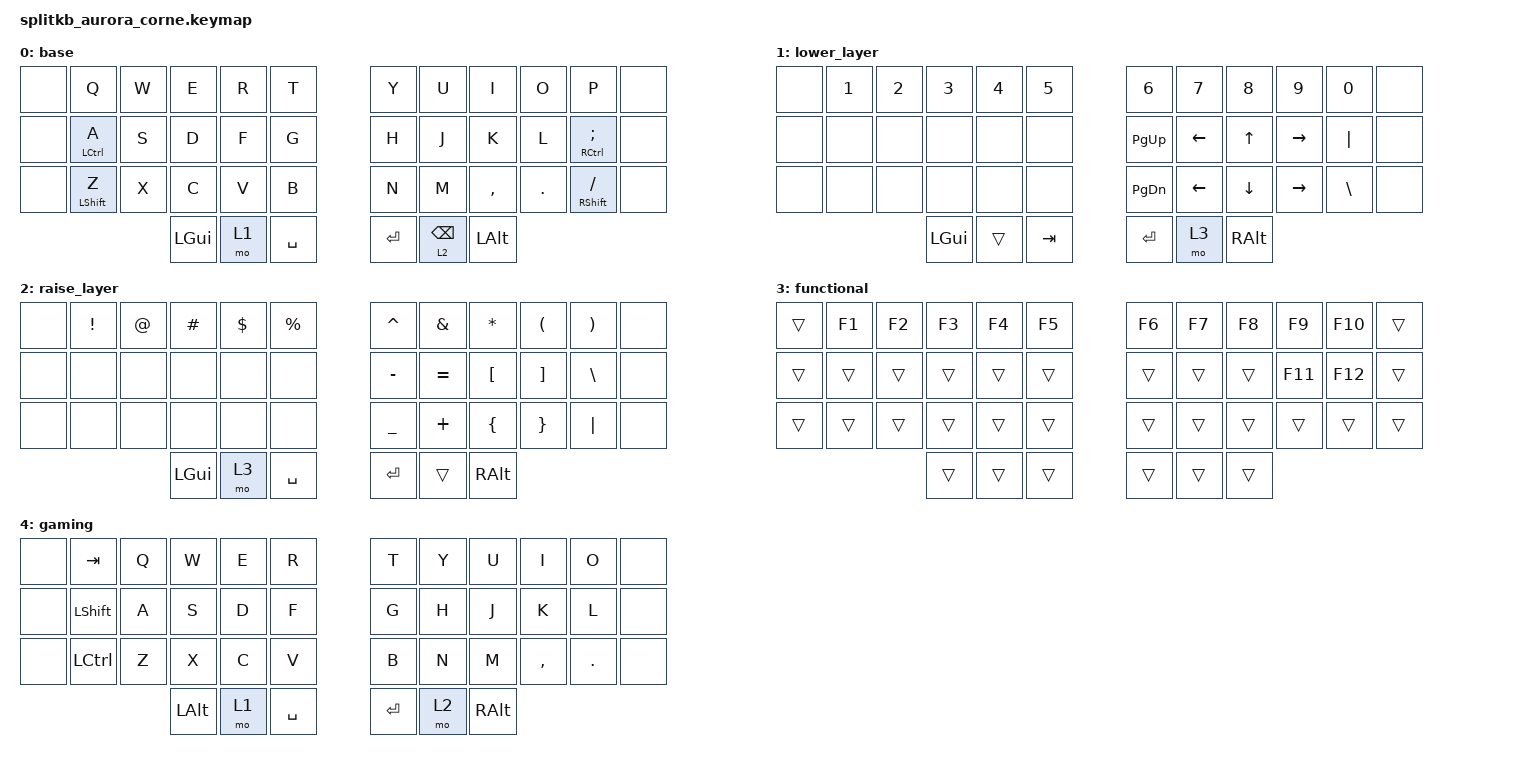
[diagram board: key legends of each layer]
/*
 * Copyright (c) 2020 The ZMK Contributors
 *
 * SPDX-License-Identifier: MIT
 */

#include <behaviors.dtsi>
#include <dt-bindings/zmk/keys.h>

&mt {
    tapping-term-ms = <250>;
    quick-tap-ms = <200>;
};

&lt {
    tapping-term-ms = <250>;
    quick-tap-ms = <200>;
};

/ {
    combos {
        compatible = "zmk,combos";

        escape {
            bindings = <&kp ESCAPE>;
            key-positions = <1 2>;
        };

        single_quote {
            bindings = <&kp SINGLE_QUOTE>;
            key-positions = <4 5>;
        };

        double_quote {
            bindings = <&kp DOUBLE_QUOTES>;
            key-positions = <6 7>;
        };

        delete {
            bindings = <&kp DEL>;
            key-positions = <6 7 8>;
        };

        toggle_gaming_layer {
            bindings = <&tog 4>;
            key-positions = <5 1>;
        };
    };

    keymap {
        compatible = "zmk,keymap";

        base {
            bindings = <
&none  &kp Q        &kp W  &kp E     &kp R  &kp T        &kp Y    &kp U            &kp I      &kp O    &kp P           &none
&none  &mt LCTRL A  &kp S  &kp D     &kp F  &kp G        &kp H    &kp J            &kp K      &kp L    &mt RCTRL SEMI  &none
&none  &mt LSHFT Z  &kp X  &kp C     &kp V  &kp B        &kp N    &kp M            &kp COMMA  &kp DOT  &mt RSHFT FSLH  &none
                           &kp LGUI  &mo 1  &kp SPACE    &kp RET  &lt 2 BACKSPACE  &kp LALT
            >;
        };

        lower_layer {
            bindings = <
&none  &kp N1  &kp N2  &kp N3    &kp N4  &kp N5     &kp N6         &kp N7          &kp N8    &kp N9           &kp N0         &none
&none  &none   &none   &none     &none   &none      &kp PG_UP      &kp LEFT_ARROW  &kp UP    &kp RIGHT_ARROW  &kp PIPE       &none
&none  &none   &none   &none     &none   &none      &kp PAGE_DOWN  &kp LEFT        &kp DOWN  &kp RIGHT        &kp BACKSLASH  &none
                       &kp LGUI  &trans  &kp TAB    &kp RET        &mo 3           &kp RALT
            >;
        };

        raise_layer {
            bindings = <
&none  &kp EXCL  &kp AT  &kp HASH  &kp DLLR  &kp PRCNT    &kp CARET  &kp AMPS   &kp ASTRK  &kp LPAR  &kp RPAR  &none
&none  &none     &none   &none     &none     &none        &kp MINUS  &kp EQUAL  &kp LBKT   &kp RBKT  &kp BSLH  &none
&none  &none     &none   &none     &none     &none        &kp UNDER  &kp PLUS   &kp LBRC   &kp RBRC  &kp PIPE  &none
                         &kp LGUI  &mo 3     &kp SPACE    &kp RET    &trans     &kp RALT
            >;
        };

        functional {
            bindings = <
&trans  &kp F1  &kp F2  &kp F3  &kp F4  &kp F5    &kp F6  &kp F7  &kp F8  &kp F9   &kp F10  &trans
&trans  &trans  &trans  &trans  &trans  &trans    &trans  &trans  &trans  &kp F11  &kp F12  &trans
&trans  &trans  &trans  &trans  &trans  &trans    &trans  &trans  &trans  &trans   &trans   &trans
                        &trans  &trans  &trans    &trans  &trans  &trans
            >;
        };

        gaming {
            bindings = <
&none  &kp TAB    &kp Q  &kp W     &kp E  &kp R        &kp T      &kp Y  &kp U     &kp I      &kp O       &none
&none  &kp LSHFT  &kp A  &kp S     &kp D  &kp F        &kp G      &kp H  &kp J     &kp K      &kp L       &none
&none  &kp LCTRL  &kp Z  &kp X     &kp C  &kp V        &kp B      &kp N  &kp M     &kp COMMA  &kp PERIOD  &none
                         &kp LALT  &mo 1  &kp SPACE    &kp ENTER  &mo 2  &kp RALT
            >;
        };
    };
};
